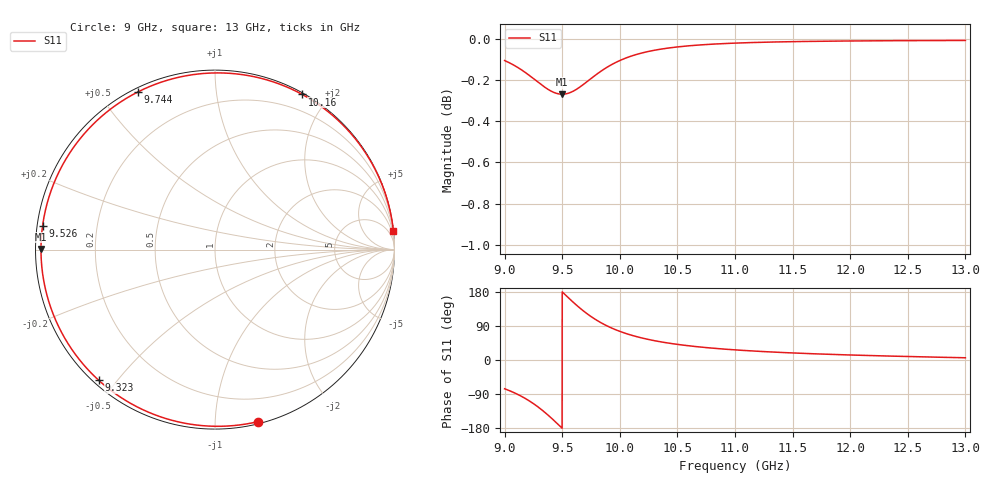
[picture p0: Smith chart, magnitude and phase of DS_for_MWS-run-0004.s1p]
! TOUCHSTONE file generated by CST DESIGN STUDIO
! Date and time: Tue Feb  4 13:40:04 2025
! Project name: C:\Work\MatlabApps\UnitCellOptimizationMatlab\CST\unitcell.cst
! Tree item: Tasks\Sweep1\SPara1\S-Parameters
! Header version: 2024
! Port assignment regex: !\s*Touchstone port\s*([0-9]+)\s*=\s*(CST MWS port|CST DES external port|CST DES block port)\s*(.+)\s* \(\"(.*)\"\)(\s*mode\s*([0-9]+))?.*
! Touchstone port assignment:
! Touchstone port 1 = CST DES external port 1 ("")
# GHz S MA R 50
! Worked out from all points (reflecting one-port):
!   4001 points, 9 GHz to 13 GHz, reference 50 ohm
!   lowest |S11| = -0.3 dB at 9.5 GHz (marker M1), VSWR 64.79, Z = 0.772 + j0.101 ohm
!   phase of S11 starts at -76 deg and turns -278 deg over the sweep
!   S11 on the Smith chart (normalised r, x): 9 GHz: 0.02, -1.28; 9.323 GHz: 0.02, -0.45; 9.526 GHz: 0.02, +0.07; 9.744 GHz: 0.02, +0.63; 10.16 GHz: 0.02, +1.71; 13 GHz: 0, +19
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9  0.988 -75.9
9.085  0.9853 -86.6
9.186  0.9812 -102.7
9.257  0.9778 -116.6
9.323  0.9746 -131.6
9.37  0.9725 -143.6
9.42  0.9708 -157.2
9.461  0.9699 -168.9
9.5  0.9696 179.8
9.526  0.9697 172.2
9.58  0.9708 156.7
9.64  0.9729 140.5
9.691  0.9752 127.8
9.744  0.9778 116.0
9.796  0.9803 105.6
9.854  0.9829 95.5
9.926  0.9857 84.8
10  0.9881 75.6
10.076  0.99 67.7
10.158  0.9917 60.6
10.313  0.9939 50.3
10.5  0.9956 41.2
10.722  0.9968 33.5
11  0.9977 26.7
11.5  0.9986 18.6
12  0.9989 13.2
12.5  0.9991 9.2
13  0.9992 5.9
